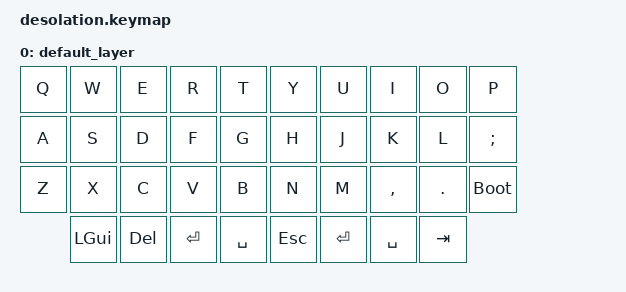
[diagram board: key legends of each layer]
/*
 * Copyright (c) 2024 miketronic
 *
 * SPDX-License-Identifier: MIT
 *
 */

#include <behaviors.dtsi>
#include <dt-bindings/zmk/keys.h>
#include <dt-bindings/zmk/bt.h>
#include <dt-bindings/zmk/outputs.h>
#include <dt-bindings/zmk/mouse.h>
#include "mouse.dtsi"


#define default      0


    keymap {
        compatible = "zmk,keymap";

        default_layer {

        bindings = <
&kp Q    &kp W    &kp E     &kp R     &kp T           &kp Y     &kp U     &kp I     &kp O     &kp P
&kp A    &kp S    &kp D     &kp F     &kp G           &kp H     &kp J     &kp K     &kp L     &kp SEMI
&kp Z    &kp X    &kp C     &kp V     &kp B           &kp N     &kp M     &kp COMMA &kp DOT   &bootloader
         &kp LGUI  &kp DEL  &kp RET   &kp SPACE       &kp ESC   &kp RET   &kp SPACE &kp TAB
            >;
        };
    };
